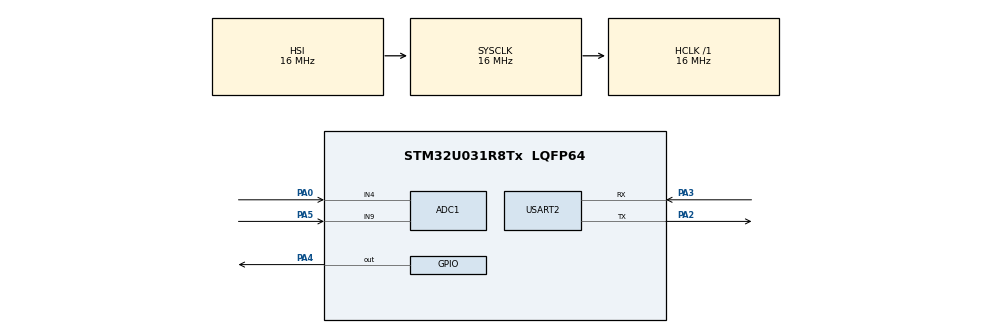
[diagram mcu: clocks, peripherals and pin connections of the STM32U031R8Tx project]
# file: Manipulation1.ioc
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ADC1.Channel-7\#ChannelRegularConversion=ADC_CHANNEL_9
ADC1.Channel-8\#ChannelRegularConversion=ADC_CHANNEL_4
ADC1.ClockPrescaler=ADC_CLOCK_ASYNC_DIV4
ADC1.ContinuousConvMode=ENABLE
ADC1.DMAContinuousRequests=ENABLE
ADC1.DiscontinuousConvMode=DISABLE
ADC1.EnableAnalogWatchDog1=false
ADC1.LowPowerAutoWait=ENABLE
ADC1.NbrOfConversion=2
ADC1.NbrOfConversionFlag=1
ADC1.Overrun=ADC_OVR_DATA_OVERWRITTEN
ADC1.Rank-8\#ChannelRegularConversion=2
ADC1.RankArg-7\#ChannelRegularConversion=ADC_REGULAR_RANK_1
ADC1.RankArg-8\#ChannelRegularConversion=ADC_REGULAR_RANK_2
ADC1.SamplingTime-8\#ChannelRegularConversion=ADC_SAMPLINGTIME_COMMON_1
ADC1.SamplingTimeCommon1=ADC_SAMPLETIME_160CYCLES_5
ADC1.SamplingTimeCommon2=ADC_SAMPLETIME_160CYCLES_5
ADC1.SelectedChannel=ADC_CHANNEL_4|ADC_CHANNEL_9|ADC_CHANNEL_VBAT
ADC1.master=1
Dma.ADC1.0.Direction=DMA_PERIPH_TO_MEMORY
Dma.ADC1.0.EventEnable=DISABLE
Dma.ADC1.0.Instance=DMA1_Channel1
Dma.ADC1.0.MemDataAlignment=DMA_MDATAALIGN_HALFWORD
Dma.ADC1.0.MemInc=DMA_MINC_ENABLE
Dma.ADC1.0.Mode=DMA_CIRCULAR
Dma.ADC1.0.PeriphDataAlignment=DMA_PDATAALIGN_HALFWORD
Dma.ADC1.0.PeriphInc=DMA_PINC_DISABLE
Dma.ADC1.0.Polarity=HAL_DMAMUX_REQ_GEN_RISING
Dma.ADC1.0.Priority=DMA_PRIORITY_LOW
Dma.ADC1.0.RequestNumber=1
Dma.ADC1.0.SignalID=NONE
Dma.ADC1.0.SyncEnable=DISABLE
Dma.ADC1.0.SyncPolarity=HAL_DMAMUX_SYNC_NO_EVENT
Dma.ADC1.0.SyncRequestNumber=1
Dma.ADC1.0.SyncSignalID=NONE
Dma.Request0=ADC1
Mcu.Family=STM32U0
Mcu.Name=STM32U031R8Tx
Mcu.Package=LQFP64
NUCLEO-U031R8.BUTTON=1
NUCLEO-U031R8.LD4=false
NUCLEO-U031R8.VCP=false
NVIC.ADC_COMP1_IRQn=true\:0\:0\:false\:false\:true\:true\:true\:true
NVIC.DMA1_Channel1_IRQn=true\:0\:0\:false\:false\:true\:false\:true\:true
NVIC.EXTI4_15_IRQn=true\:0\:0\:false\:false\:true\:false\:true\:true
NVIC.PriorityGroup=NVIC_PRIORITYGROUP_2
PA0.Mode=IN4
PA0.Signal=ADC1_IN4
PA0.Stacked=true
PA13\ (SWDIO).GPIO_Label=SWDIO
PA13\ (SWDIO).Signal=DEBUG_JTMS-SWDIO
PA14\ (SWCLK).GPIO_Label=SWCLK
PA14\ (SWCLK).Signal=DEBUG_JTCK-SWCLK
PA2.Mode=Asynchronous
PA2.Signal=USART2_TX
PA2.Stacked=true
PA3.Mode=Asynchronous
PA3.Signal=USART2_RX
PA3.Stacked=true
PA4.Signal=GPIO_Output
PA4.Stacked=true
PA5.Mode=IN9
PA5.Signal=ADC1_IN9
PB8.GPIO_Label=I2C1_SCL
PB8.Signal=I2C1_SCL
PB9.GPIO_Label=I2C1_SDA
PB9.Signal=I2C1_SDA
PC14-OSC32_IN.GPIO_Label=OSC32_IN
PC14-OSC32_IN.Signal=RCC_OSC32_IN
PC15-OSC32_OUT.GPIO_Label=OSC32_OUT
PC15-OSC32_OUT.Signal=RCC_OSC32_OUT
PF0-OSC_IN.GPIO_Label=OSC_IN
PF0-OSC_IN.Signal=RCC_OSC_IN
PF1-OSC_OUT.GPIO_Label=OSC_OUT
PF1-OSC_OUT.Signal=RCC_OSC_OUT
ProjectManager.HeapSize=0x200
ProjectManager.StackSize=0x400
ProjectManager.TargetToolchain=STM32CubeIDE
RCC.AHBFreq_Value=16000000
RCC.CortexFreq_Value=16000000
RCC.HCLKFreq_Value=16000000
RCC.HSE_VALUE=4000000
RCC.HSI48_VALUE=48000000
RCC.HSI_VALUE=16000000
RCC.LSE_VALUE=32768
RCC.MSI_VALUE=4000000
RCC.SYSCLKFreq_VALUE=16000000
RCC.VCOOutputFreq_Value=64000000
USART2.VirtualMode-Asynchronous=VM_ASYNC
VP_ADC1_Vbat_Input.Mode=IN-Vbat
VP_NUCLEO-U031R8_VS_BSP_COMMON.Mode=COMMON
VP_PWR_VS_SECSignals.Mode=Security/Privilege
board=NUCLEO-U031R8

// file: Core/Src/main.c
/* USER CODE BEGIN Header */
/**
  ******************************************************************************
  * @file           : main.c
  * @brief          : Main program body
  ******************************************************************************
  * @attention
  *
  * Copyright (c) 2026 STMicroelectronics.
  * All rights reserved.
  *
  * This software is licensed under terms that can be found in the LICENSE file
  * in the root directory of this software component.
  * If no LICENSE file comes with this software, it is provided AS-IS.
  *
  ******************************************************************************
  */
/* USER CODE END Header */
#include "main.h"

/* USER CODE BEGIN Includes */
#include "stdio.h"
#include "string.h"
#include "math.h"

/* USER CODE END Includes */

ADC_HandleTypeDef hadc1;
DMA_HandleTypeDef hdma_adc1;

UART_HandleTypeDef huart2;

/* USER CODE BEGIN PV */

uint32_t adc_buffer[2]; //[0] = IN5 (Rank1, LDR),  [1] = IN4 (Rank2, batterie)
volatile uint8_t adc_ready = 0; // flag levé par le DMA quand les données sont prêtes

   //==================================================================//
  //                INITIALISATION PARTIE LUMINOSITÉ                  //
 //==================================================================//

// Variable pour la mesure de la luminosité
uint16_t adc_value = 0;
float voltage = 0.0f;
char msg[100];

const float VCC = 3.3f;

/* USER CODE END PV */

void SystemClock_Config(void);
static void MX_GPIO_Init(void);
static void MX_DMA_Init(void);
static void MX_USART2_UART_Init(void);
static void MX_ADC1_Init(void);

int main(void)
{

  /* USER CODE BEGIN 1 */
	uint32_t dernier_envoi = 0;

  /* USER CODE END 1 */

  /* MCU Configuration--------------------------------------------------------*/

  /* Reset of all peripherals, Initializes the Flash interface and the Systick. */
  HAL_Init();

  /* Configure the system clock */
  SystemClock_Config();

  /* Initialize all configured peripherals */
  MX_GPIO_Init();
  MX_DMA_Init();
  MX_USART2_UART_Init();
  MX_ADC1_Init();
  /* USER CODE BEGIN 2 */
  HAL_ADCEx_Calibration_Start(&hadc1);
  HAL_GPIO_WritePin(GPIOA, GPIO_PIN_4, GPIO_PIN_SET); // Alimente le pont diviseur
  HAL_Delay(10);
  HAL_ADC_Start_DMA(&hadc1, (uint32_t*)adc_buffer, 2); // Lance l'acquisition DMA en continu

  /* USER CODE END 2 */

  /* Initialize USER push-button, will be used to trigger an interrupt each time it's pressed.*/
  BSP_PB_Init(BUTTON_USER, BUTTON_MODE_EXTI);

  /* Infinite loop */
  /* USER CODE BEGIN WHILE */
  while (1)
    {

	        // On attend que le DMA ait fini sa première nouvelle capture
	        while(adc_ready == 0);

	      if (adc_ready == 1)
	      {
	          adc_ready = 0;   // on remet le flag à 0

	 adc_value     = adc_buffer[0];   // IN5 (PA5) — LDR luminosité | adc_buffer[0] = partie LDR car rank 1

      //==================================================================//
     //                          PARTIE LUMINOSITÉ                       //
    //==================================================================//

      //  Conversion : Chiffre ADC -> Tension (Volt)
      voltage = (float)adc_value * VCC / 4095.0;

      //Décomposition pour affichage sans %f
          int volt_entier = (int)voltage;
          int volt_dec    = (int)((voltage - volt_entier) * 100);

          //==================================================================//
         //                       AFFICHAGE LIAISON SÉRIE                    //
        //==================================================================//

       // On regarde si 1000 ms se sont écoulées depuis le dernier envoi
          if (HAL_GetTick() - dernier_envoi >= 1000)
              {
         //Affichage Luminosité
       // Affichage sur le PC  (USART2)
        int len = sprintf(msg, "V:%d.%02dV\r\n", volt_entier, volt_dec);
          HAL_UART_Transmit(&huart2, (uint8_t*)msg, len, HAL_MAX_DELAY);

          // On met à jour le chronomètre pour le prochain coup
                          dernier_envoi = HAL_GetTick();

              }
	      }

   }
    /* USER CODE END WHILE */

}

void SystemClock_Config(void)
{
  RCC_OscInitTypeDef RCC_OscInitStruct = {0};
  RCC_ClkInitTypeDef RCC_ClkInitStruct = {0};

  /** Configure the main internal regulator output voltage
  */
  HAL_PWREx_ControlVoltageScaling(PWR_REGULATOR_VOLTAGE_SCALE2);

  /** Initializes the RCC Oscillators according to the specified parameters
  * in the RCC_OscInitTypeDef structure.
  */
  RCC_OscInitStruct.OscillatorType = RCC_OSCILLATORTYPE_HSI;
  RCC_OscInitStruct.HSIState = RCC_HSI_ON;
  RCC_OscInitStruct.HSICalibrationValue = RCC_HSICALIBRATION_DEFAULT;
  RCC_OscInitStruct.PLL.PLLState = RCC_PLL_NONE;
  if (HAL_RCC_OscConfig(&RCC_OscInitStruct) != HAL_OK)
  {
    Error_Handler();
  }

  /** Initializes the CPU, AHB and APB buses clocks
  */
  RCC_ClkInitStruct.ClockType = RCC_CLOCKTYPE_HCLK|RCC_CLOCKTYPE_SYSCLK
                              |RCC_CLOCKTYPE_PCLK1;
  RCC_ClkInitStruct.SYSCLKSource = RCC_SYSCLKSOURCE_HSI;
  RCC_ClkInitStruct.AHBCLKDivider = RCC_SYSCLK_DIV1;
  RCC_ClkInitStruct.APB1CLKDivider = RCC_HCLK_DIV1;

  if (HAL_RCC_ClockConfig(&RCC_ClkInitStruct, FLASH_LATENCY_1) != HAL_OK)
  {
    Error_Handler();
  }
}

static void MX_ADC1_Init(void)
{

  ADC_ChannelConfTypeDef sConfig = {0};

  /** Configure the global features of the ADC (Clock, Resolution, Data Alignment and number of conversion)
  */
  hadc1.Instance = ADC1;
  hadc1.Init.ClockPrescaler = ADC_CLOCK_ASYNC_DIV4;
  hadc1.Init.Resolution = ADC_RESOLUTION_12B;
  hadc1.Init.DataAlign = ADC_DATAALIGN_RIGHT;
  hadc1.Init.ScanConvMode = ADC_SCAN_ENABLE;
  hadc1.Init.EOCSelection = ADC_EOC_SINGLE_CONV;
  hadc1.Init.LowPowerAutoWait = ENABLE;
  hadc1.Init.LowPowerAutoPowerOff = DISABLE;
  hadc1.Init.ContinuousConvMode = ENABLE;
  hadc1.Init.NbrOfConversion = 2;
  hadc1.Init.DiscontinuousConvMode = DISABLE;
  hadc1.Init.ExternalTrigConv = ADC_SOFTWARE_START;
  hadc1.Init.ExternalTrigConvEdge = ADC_EXTERNALTRIGCONVEDGE_NONE;
  hadc1.Init.DMAContinuousRequests = ENABLE;
  hadc1.Init.Overrun = ADC_OVR_DATA_OVERWRITTEN;
  hadc1.Init.SamplingTimeCommon1 = ADC_SAMPLETIME_160CYCLES_5;
  hadc1.Init.SamplingTimeCommon2 = ADC_SAMPLETIME_160CYCLES_5;
  hadc1.Init.OversamplingMode = DISABLE;
  hadc1.Init.TriggerFrequencyMode = ADC_TRIGGER_FREQ_HIGH;
  if (HAL_ADC_Init(&hadc1) != HAL_OK)
  {
    Error_Handler();
  }

  /** Configure Regular Channel
  */
  sConfig.Channel = ADC_CHANNEL_9;
  sConfig.Rank = ADC_REGULAR_RANK_1;
  sConfig.SamplingTime = ADC_SAMPLINGTIME_COMMON_1;
  if (HAL_ADC_ConfigChannel(&hadc1, &sConfig) != HAL_OK)
  {
    Error_Handler();
  }

  /** Configure Regular Channel
  */
  sConfig.Channel = ADC_CHANNEL_4;
  sConfig.Rank = ADC_REGULAR_RANK_2;
  if (HAL_ADC_ConfigChannel(&hadc1, &sConfig) != HAL_OK)
  {
    Error_Handler();
  }

}

static void MX_USART2_UART_Init(void)
{

  huart2.Instance = USART2;
  huart2.Init.BaudRate = 115200;
  huart2.Init.WordLength = UART_WORDLENGTH_8B;
  huart2.Init.StopBits = UART_STOPBITS_1;
  huart2.Init.Parity = UART_PARITY_NONE;
  huart2.Init.Mode = UART_MODE_TX_RX;
  huart2.Init.HwFlowCtl = UART_HWCONTROL_NONE;
  huart2.Init.OverSampling = UART_OVERSAMPLING_16;
  huart2.Init.OneBitSampling = UART_ONE_BIT_SAMPLE_DISABLE;
  huart2.Init.ClockPrescaler = UART_PRESCALER_DIV1;
  huart2.AdvancedInit.AdvFeatureInit = UART_ADVFEATURE_NO_INIT;
  if (HAL_UART_Init(&huart2) != HAL_OK)
  {
    Error_Handler();
  }
  if (HAL_UARTEx_SetTxFifoThreshold(&huart2, UART_TXFIFO_THRESHOLD_1_8) != HAL_OK)
  {
    Error_Handler();
  }
  if (HAL_UARTEx_SetRxFifoThreshold(&huart2, UART_RXFIFO_THRESHOLD_1_8) != HAL_OK)
  {
    Error_Handler();
  }
  if (HAL_UARTEx_DisableFifoMode(&huart2) != HAL_OK)
  {
    Error_Handler();
  }

}

static void MX_DMA_Init(void)
{

  /* DMA controller clock enable */
  __HAL_RCC_DMA1_CLK_ENABLE();

  /* DMA interrupt init */
  /* DMA1_Channel1_IRQn interrupt configuration */
  HAL_NVIC_SetPriority(DMA1_Channel1_IRQn, 0, 0);
  HAL_NVIC_EnableIRQ(DMA1_Channel1_IRQn);

}

static void MX_GPIO_Init(void)
{
  GPIO_InitTypeDef GPIO_InitStruct = {0};

  /* GPIO Ports Clock Enable */
  __HAL_RCC_GPIOC_CLK_ENABLE();
  __HAL_RCC_GPIOF_CLK_ENABLE();
  __HAL_RCC_GPIOA_CLK_ENABLE();
  __HAL_RCC_GPIOB_CLK_ENABLE();

  /*Configure GPIO pin Output Level */
  HAL_GPIO_WritePin(GPIOA, GPIO_PIN_4, GPIO_PIN_RESET);

  /*Configure GPIO pin : PA4 */
  GPIO_InitStruct.Pin = GPIO_PIN_4;
  GPIO_InitStruct.Mode = GPIO_MODE_OUTPUT_PP;
  GPIO_InitStruct.Pull = GPIO_NOPULL;
  GPIO_InitStruct.Speed = GPIO_SPEED_FREQ_LOW;
  HAL_GPIO_Init(GPIOA, &GPIO_InitStruct);

  /*Configure GPIO pins : I2C1_SCL_Pin I2C1_SDA_Pin */
  GPIO_InitStruct.Pin = I2C1_SCL_Pin|I2C1_SDA_Pin;
  GPIO_InitStruct.Mode = GPIO_MODE_AF_OD;
  GPIO_InitStruct.Pull = GPIO_NOPULL;
  GPIO_InitStruct.Speed = GPIO_SPEED_FREQ_LOW;
  GPIO_InitStruct.Alternate = GPIO_AF4_I2C1;
  HAL_GPIO_Init(GPIOB, &GPIO_InitStruct);

}

/* USER CODE BEGIN 4 */

void HAL_ADC_ConvCpltCallback(ADC_HandleTypeDef *hadc)
{
    if (hadc->Instance == ADC1)
    {
        adc_ready = 1; // On lève le drapeau pour la boucle while(1)
    }
}
/* USER CODE END 4 */

void Error_Handler(void)
{
  __disable_irq();
  while (1)
  {
  }
}
